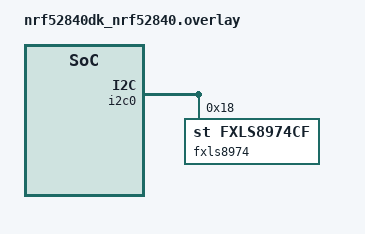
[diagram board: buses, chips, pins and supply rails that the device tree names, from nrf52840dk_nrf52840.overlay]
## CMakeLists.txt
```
#
# Copyright (c) 2018, Yannis Damigos
#
# SPDX-License-Identifier: Apache-2.0
#

cmake_minimum_required(VERSION 3.20.0)
find_package(Zephyr REQUIRED HINTS $ENV{ZEPHYR_BASE})
project(fxls8974f_acc)

FILE(GLOB app_sources src/*.c)
target_sources(app PRIVATE ${app_sources})
```

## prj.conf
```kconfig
CONFIG_STDOUT_CONSOLE=y
CONFIG_I2C=y
CONFIG_SENSOR=y
CONFIG_CBPRINTF_FP_SUPPORT=y
CONFIG_RTT_CONSOLE=y
CONFIG_LOG=y
CONFIG_CLOCK_CONTROL_NRF_K32SRC_RC=y
CONFIG_CLOCK_CONTROL_NRF_K32SRC_XTAL=n
CONFIG_CLOCK_CONTROL_NRF_K32SRC_250PPM=y


CONFIG_FXLS8974CF=y
```

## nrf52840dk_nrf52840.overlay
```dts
// To get started, press Ctrl+Space to bring up the completion menu and view the available nodes.

// You can also use the buttons in the sidebar to perform actions on nodes.
// Actions currently available include:

// * Enabling / disabling the node
// * Adding the bus to a bus
// * Removing the node
// * Connecting ADC channels

// For more help, browse the DeviceTree documentation at https://docs.zephyrproject.org/latest/guides/dts/index.html
// You can also visit the nRF DeviceTree extension documentation at https://nrfconnect.github.io/vscode-nrf-connect/devicetree/nrfdevicetree.html
&pinctrl {
	i2c0_default: i2c0_default {
		group1 {
			psels = <NRF_PSEL(TWIM_SDA, 0, 7)>,
					<NRF_PSEL(TWIM_SCL, 0, 8)>;
		};
	};

	i2c0_sleep: i2c0_sleep {
		group1 {
			psels = <NRF_PSEL(TWIM_SDA, 0, 7)>,
					<NRF_PSEL(TWIM_SCL, 0, 8)>;
			low-power-enable;
		};
	};
};

&i2c0 {
    status = "okay";
	fxls8974: fxls8974@18 {
		compatible = "st,fxls8974cf";
		reg = <0x18>;
	};
};
```

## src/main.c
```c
/*
 * Copyright (c) 2019 Nordic Semiconductor ASA
 *
 * SPDX-License-Identifier: Apache-2.0
 */

#include <stdio.h>
#include <zephyr/kernel.h>
#include <zephyr/device.h>
#include <zephyr/drivers/sensor.h>
#include <zephyr/logging/log.h>
#include <zephyr/drivers/i2c.h>

#define LOG_LEVEL LOG_LEVEL_DBG

LOG_MODULE_REGISTER(main, CONFIG_LOG_DEFAULT_LEVEL);

#define I2C0_NODE DT_NODELABEL(fxls8974)

static const struct i2c_dt_spec i2c_node = I2C_DT_SPEC_GET(I2C0_NODE);

static struct device *dev = DEVICE_DT_GET(DT_NODELABEL(fxls8974));

static void fetch_and_display(const struct device *sensor)
{
	static unsigned int count;
	struct sensor_value accel[3];  
	// const char *overrun = "";
	int rc = sensor_sample_fetch(sensor);

	++count;

	if (rc == 0) {
		rc = sensor_channel_get(sensor,
					SENSOR_CHAN_ACCEL_XYZ,
					accel);
	}
	if (rc < 0) {
		printk("ERROR: Update failed: %d\n", rc);
	} else {
		printk("X = %f, Y = %f, Z = %f\n",
		       sensor_value_to_double(&accel[0]),
		       sensor_value_to_double(&accel[1]),
		       sensor_value_to_double(&accel[2]));
	}

		printk("\n");
	
}


int main(void)
{
	//  const struct device *sensor;
    
     printk("enter the program\n");

	// int err;

	if (!device_is_ready(dev)) {
		printk("Device %s is not ready\n", dev->name);
		
	}


	if (!device_is_ready(i2c_node.bus))
	{
		printk("I2C bus %s is not ready! \n\r", i2c_node.bus->name);
	}



	while (true) {
		fetch_and_display(dev);

		
		// sample_fetch(dev,SENSOR_CHAN_ACCEL_XYZ);

		k_sleep(K_MSEC(2000));
	}

}
```
